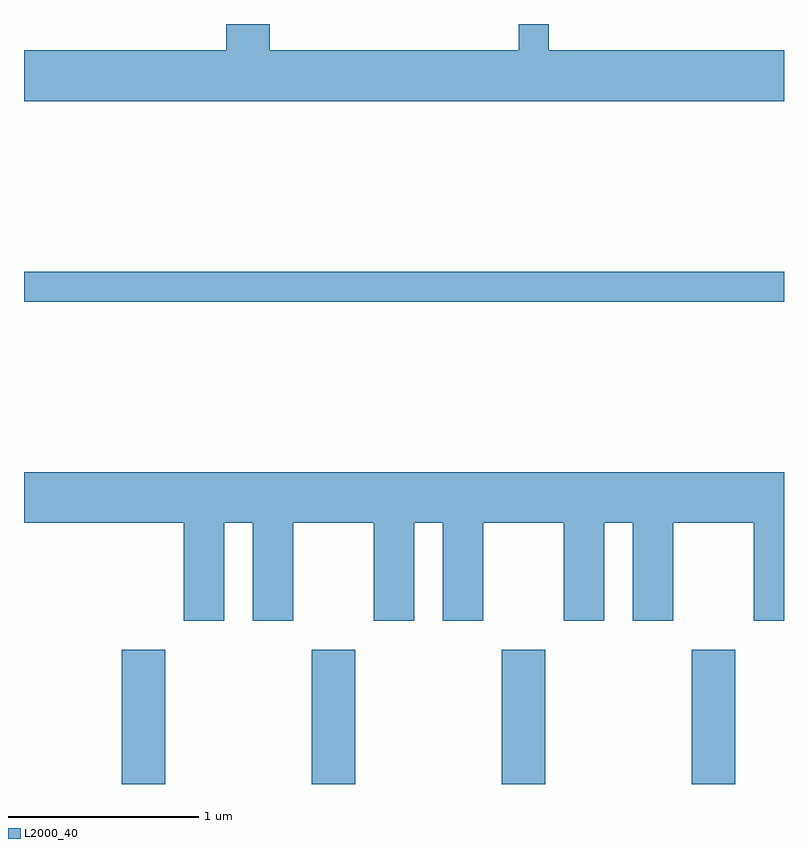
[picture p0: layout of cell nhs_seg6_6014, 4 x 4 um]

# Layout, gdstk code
import gdstk
lib = gdstk.Library(unit=1e-6, precision=1e-09)
def R(c, l, rs):  # rectangles x0, y0, x1, y1
    for r in rs: c.add(gdstk.rectangle(r[:2], r[2:], *l))
def A(c, l, x, y, w, h, nx, ny, dx, dy):  # array of equal rectangles
    R(c, l, [(x+i*dx, y+j*dy, x+i*dx+w, y+j*dy+h) for i in range(nx) for j in range(ny)])
def P(c, l, *ps):  # polygons
    for p in ps: c.add(gdstk.Polygon(p, *l))
L2000_40 = (2000, 40)

nhs_seg6_6014 = lib.new_cell('nhs_seg6_6014')
A(nhs_seg6_6014, L2000_40, 368.126, 1604.162, 0.228, 0.707, 4, 1, 1, 0)
R(nhs_seg6_6014, L2000_40, [(367.611,1606.701,371.611,1606.859)])
P(nhs_seg6_6014, L2000_40, [(371.611,1608.024),(370.374,1608.024),(370.374,1608.162),(370.216,1608.162),(370.216,1608.024),(368.904,1608.024),(368.904,1608.162),(368.676,1608.162),(368.676,1608.024),(367.611,1608.024),(367.611,1607.756),(371.611,1607.756)],
  [(368.664,1605.536),(368.816,1605.536),(368.816,1605.021),(369.029,1605.021),(369.029,1605.536),(369.451,1605.536),(369.451,1605.021),(369.664,1605.021),(369.664,1605.536),(369.816,1605.536),(369.816,1605.021),(370.029,1605.021),(370.029,1605.536),(370.451,1605.536),(370.451,1605.021),(370.664,1605.021),(370.664,1605.536),(370.816,1605.536),(370.816,1605.021),(371.029,1605.021),(371.029,1605.536),(371.451,1605.536),(371.451,1605.021),(371.611,1605.021),(371.611,1605.804),(367.611,1605.804),(367.611,1605.536),(368.451,1605.536),(368.451,1605.021),(368.664,1605.021)])

lib.write_gds('nhs_seg6_6014.gds')
